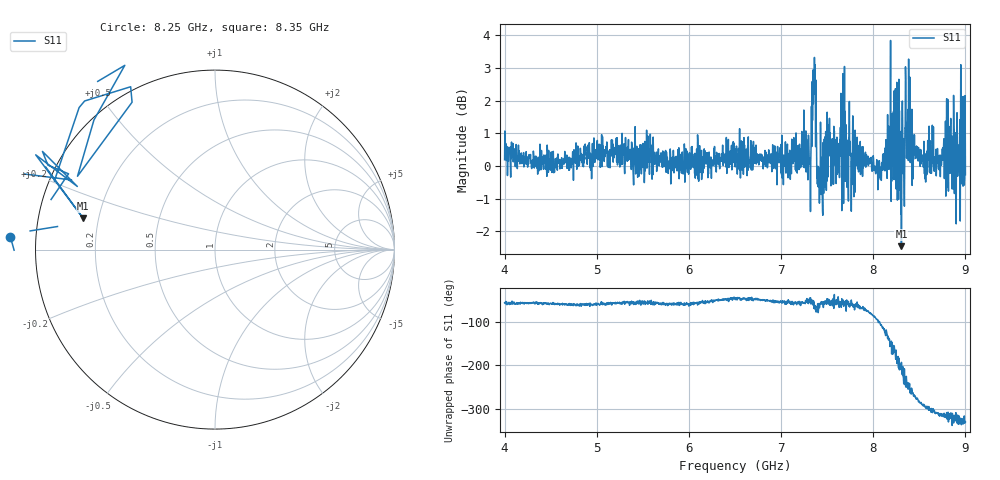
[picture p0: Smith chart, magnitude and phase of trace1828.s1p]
! Created with skrf 1.8.0 (http://scikit-rf.org).
# Hz S RI R 50.0
!freq ReS11 ImS11
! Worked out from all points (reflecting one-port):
!   1601 points, 4 GHz to 9 GHz, reference 50 ohm
!   lowest |S11| = -2.5 dB at 8.306 GHz (marker M1), VSWR 7.13, Z = 7.1 + j5.72 ohm
!   phase of S11 starts at -57 deg and turns -273 deg over the sweep
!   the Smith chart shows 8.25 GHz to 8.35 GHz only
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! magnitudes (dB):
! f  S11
! 4 GHz  0.2
! 4.625 GHz  -0.1
! 5.25 GHz  0.0
! 5.875 GHz  0.0
! 6.5 GHz  0.2
! 7.125 GHz  0.5
! 7.256 GHz  0.6
! 7.297 GHz  0.9
! 7.353 GHz  2.5
! 7.4 GHz  0.0
! 7.428 GHz  1.3
! 7.509 GHz  -0.3
! 7.609 GHz  -0.2
! 7.669 GHz  1.3
! 7.703 GHz  1.3
! 7.75 GHz  0.5
! 8.075 GHz  0.0
! 8.162 GHz  -0.1
! 8.216 GHz  0.0
! 8.259 GHz  1.9
! 8.306 GHz  -2.5
! 8.316 GHz  2.0
! 8.334 GHz  -0.5
! 8.375 GHz  1.4
! 8.425 GHz  0.5
! 8.556 GHz  -0.2
! 8.972 GHz  0.7
! 9 GHz  -0.3
